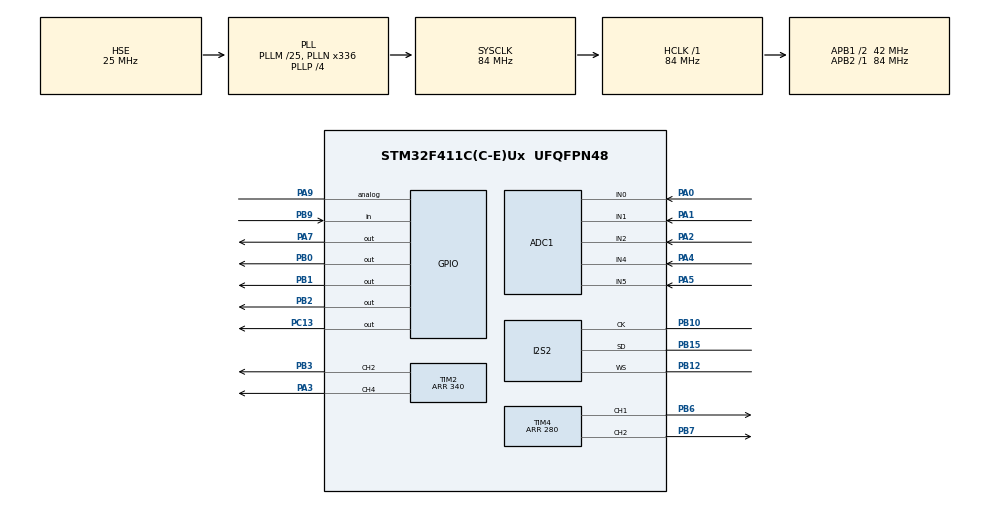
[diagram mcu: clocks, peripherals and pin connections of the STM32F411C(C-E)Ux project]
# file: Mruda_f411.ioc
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ADC1.Channel-0\#ChannelRegularConversion=ADC_CHANNEL_0
ADC1.Channel-1\#ChannelRegularConversion=ADC_CHANNEL_1
ADC1.Channel-2\#ChannelRegularConversion=ADC_CHANNEL_2
ADC1.Channel-3\#ChannelRegularConversion=ADC_CHANNEL_5
ADC1.ContinuousConvMode=ENABLE
ADC1.DMAContinuousRequests=ENABLE
ADC1.InjNumberOfConversion=0
ADC1.NbrOfConversion=4
ADC1.NbrOfConversionFlag=1
ADC1.Rank-0\#ChannelRegularConversion=1
ADC1.Rank-1\#ChannelRegularConversion=2
ADC1.Rank-2\#ChannelRegularConversion=3
ADC1.Rank-3\#ChannelRegularConversion=4
ADC1.SamplingTime-0\#ChannelRegularConversion=ADC_SAMPLETIME_15CYCLES
ADC1.SamplingTime-1\#ChannelRegularConversion=ADC_SAMPLETIME_15CYCLES
ADC1.SamplingTime-2\#ChannelRegularConversion=ADC_SAMPLETIME_15CYCLES
ADC1.SamplingTime-3\#ChannelRegularConversion=ADC_SAMPLETIME_15CYCLES
ADC1.master=1
Dma.ADC1.1.Direction=DMA_PERIPH_TO_MEMORY
Dma.ADC1.1.FIFOMode=DMA_FIFOMODE_DISABLE
Dma.ADC1.1.Instance=DMA2_Stream0
Dma.ADC1.1.MemDataAlignment=DMA_MDATAALIGN_HALFWORD
Dma.ADC1.1.MemInc=DMA_MINC_ENABLE
Dma.ADC1.1.Mode=DMA_CIRCULAR
Dma.ADC1.1.PeriphDataAlignment=DMA_PDATAALIGN_HALFWORD
Dma.ADC1.1.PeriphInc=DMA_PINC_DISABLE
Dma.ADC1.1.Priority=DMA_PRIORITY_LOW
Dma.Request0=SPI2_TX
Dma.Request1=ADC1
Dma.SPI2_TX.0.Direction=DMA_MEMORY_TO_PERIPH
Dma.SPI2_TX.0.FIFOMode=DMA_FIFOMODE_DISABLE
Dma.SPI2_TX.0.Instance=DMA1_Stream4
Dma.SPI2_TX.0.MemDataAlignment=DMA_MDATAALIGN_HALFWORD
Dma.SPI2_TX.0.MemInc=DMA_MINC_ENABLE
Dma.SPI2_TX.0.Mode=DMA_CIRCULAR
Dma.SPI2_TX.0.PeriphDataAlignment=DMA_PDATAALIGN_HALFWORD
Dma.SPI2_TX.0.PeriphInc=DMA_PINC_DISABLE
Dma.SPI2_TX.0.Priority=DMA_PRIORITY_VERY_HIGH
I2S2.AudioFreq=I2S_AUDIOFREQ_32K
I2S2.DataFormat=I2S_DATAFORMAT_16B
I2S2.ErrorAudioFreq=-0.03 %
I2S2.FullDuplexMode=I2S_FULLDUPLEXMODE_DISABLE
I2S2.Instance=SPI$Index
I2S2.RealAudioFreq=31.99 KHz
I2S2.Standard=I2S_STANDARD_MSB
I2S2.VirtualMode=I2S_MODE_MASTER
Mcu.Family=STM32F4
Mcu.Name=STM32F411C(C-E)Ux
Mcu.Package=UFQFPN48
NVIC.DMA1_Stream4_IRQn=true\:0\:0\:false\:false\:true\:false\:true\:true
NVIC.DMA2_Stream0_IRQn=true\:0\:0\:false\:false\:true\:false\:true\:true
NVIC.PriorityGroup=NVIC_PRIORITYGROUP_4
PA0-WKUP.Signal=ADCx_IN0
PA1.Signal=ADCx_IN1
PA2.Signal=ADCx_IN2
PA3.Signal=S_TIM2_CH4
PA4.Signal=ADCx_IN4
PA5.Signal=ADCx_IN5
PA7.Signal=GPIO_Output
PA9.Signal=GPIO_Analog
PB0.Signal=GPIO_Output
PB1.Signal=GPIO_Output
PB10.Mode=Half_Duplex_Master
PB10.Signal=I2S2_CK
PB12.Mode=Half_Duplex_Master
PB12.Signal=I2S2_WS
PB15.Mode=Half_Duplex_Master
PB15.Signal=I2S2_SD
PB2.Signal=GPIO_Output
PB3.Signal=S_TIM2_CH2
PB6.Signal=S_TIM4_CH1
PB7.Signal=S_TIM4_CH2
PB9.GPIO_PuPd=GPIO_PULLUP
PB9.Signal=GPIO_Input
PC13-ANTI_TAMP.Signal=GPIO_Output
PH0\ -\ OSC_IN.Mode=HSE-External-Oscillator
PH0\ -\ OSC_IN.Signal=RCC_OSC_IN
PH1\ -\ OSC_OUT.Mode=HSE-External-Oscillator
PH1\ -\ OSC_OUT.Signal=RCC_OSC_OUT
ProjectManager.HeapSize=0x200
ProjectManager.StackSize=0x400
ProjectManager.TargetToolchain=STM32CubeIDE
RCC.48MHZClocksFreq_Value=48000000
RCC.AHBFreq_Value=84000000
RCC.APB1CLKDivider=RCC_HCLK_DIV2
RCC.APB1Freq_Value=42000000
RCC.APB1TimFreq_Value=84000000
RCC.APB2Freq_Value=84000000
RCC.APB2TimFreq_Value=84000000
RCC.CortexFreq_Value=84000000
RCC.HCLKFreq_Value=84000000
RCC.HSE_VALUE=25000000
RCC.HSI_VALUE=16000000
RCC.LSE_VALUE=32768
RCC.PLLI2SM=20
RCC.PLLI2SN=190
RCC.PLLM=25
RCC.PLLN=336
RCC.PLLP=RCC_PLLP_DIV4
RCC.PLLQ=7
RCC.PLLSourceVirtual=RCC_PLLSOURCE_HSE
RCC.SYSCLKFreq_VALUE=84000000
RCC.SYSCLKSource=RCC_SYSCLKSOURCE_PLLCLK
RCC.VCOOutputFreq_Value=336000000
SH.ADCx_IN0.0=ADC1_IN0,IN0
SH.ADCx_IN1.0=ADC1_IN1,IN1
SH.ADCx_IN2.0=ADC1_IN2,IN2
SH.ADCx_IN4.0=ADC1_IN4,IN4
SH.ADCx_IN5.0=ADC1_IN5,IN5
SH.S_TIM2_CH2.0=TIM2_CH2,PWM Generation2 CH2
SH.S_TIM2_CH4.0=TIM2_CH4,PWM Generation4 CH4
SH.S_TIM4_CH1.0=TIM4_CH1,Output Compare1 CH1
SH.S_TIM4_CH2.0=TIM4_CH2,Output Compare2 CH2
TIM2.Channel-PWM\ Generation2\ CH2=TIM_CHANNEL_2
TIM2.Channel-PWM\ Generation4\ CH4=TIM_CHANNEL_4
TIM2.Period=340
TIM2.Pulse-PWM\ Generation4\ CH4=170
TIM3.AutoReloadPreload=TIM_AUTORELOAD_PRELOAD_ENABLE
TIM3.Prescaler=83
TIM4.AutoReloadPreload=TIM_AUTORELOAD_PRELOAD_ENABLE
TIM4.Channel-Output\ Compare1\ CH1=TIM_CHANNEL_1
TIM4.Channel-Output\ Compare2\ CH2=TIM_CHANNEL_2
TIM4.OCMode_1=TIM_OCMODE_TOGGLE
TIM4.OCMode_2=TIM_OCMODE_TOGGLE
TIM4.OCPolarity_1=TIM_OCPOLARITY_LOW
TIM4.Period=280
TIM4.Pulse-Output\ Compare2\ CH2=15
VP_TIM2_VS_ClockSourceINT.Mode=Internal
VP_TIM3_VS_ClockSourceINT.Mode=Internal
board=custom

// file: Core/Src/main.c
/* USER CODE BEGIN Header */
/**
  ******************************************************************************
  * @file           : main.c
  * @brief          : Main program body
  ******************************************************************************
  * @attention
  *
  * Copyright (c) 2025 STMicroelectronics.
  * All rights reserved.
  *
  * This software is licensed under terms that can be found in the LICENSE file
  * in the root directory of this software component.
  * If no LICENSE file comes with this software, it is provided AS-IS.
  *
  ******************************************************************************
  */
/* USER CODE END Header */
#include "main.h"

/* USER CODE BEGIN Includes */

#include "math.h"
#include "tm1637.h"
#include <stdio.h>

/* USER CODE END Includes */

ADC_HandleTypeDef hadc1;
DMA_HandleTypeDef hdma_adc1;

I2S_HandleTypeDef hi2s2;
DMA_HandleTypeDef hdma_spi2_tx;

TIM_HandleTypeDef htim2;
TIM_HandleTypeDef htim3;
TIM_HandleTypeDef htim4;

/* USER CODE BEGIN PV */

//to do
// implement preset sounds and paramater to preset only <-------5
// apply sustin function user config  <--------3 done
// apply midi  <--------4
// add timber variation as pressure increases   <--------1 cancell
// dedicated and fixed sound/table for tanpura sound    <--------2 done
// volume button:      <-------done
//autoreack :    <----- done (remove function key weird noise bug)

//modification made
// only one sample for measure touch poition, eliminated strange sound while
// quickly releasing any key
// scanning stra

//parameters
int phse = 15;
float p_volume= 0.00005;
float vol_knob=0;
int phase_ticks=0;

float p_expo= 1.35;
float p_expo_val[5]={1.1,1.25,1.34,1.55,1.7};
int8_t p_expo_ind=3;
uint8_t p_transpose=0;
float p_tune=0;

uint8_t fn_ind[3];
float fn_touch[3];
float fn_max = 0;
uint8_t fn_index;

int ADC_Offset = 199;
int16_t d0,d1,d2;

#define SAMPLE_RATE 32000  // Sample rate (Hz)
#define TWOPI       360.0f
#define BUFFER_SIZE 512

#define S0_pin GPIO_PIN_2
#define S0_port GPIOB

#define S1_pin GPIO_PIN_1
#define S1_port GPIOB

#define S2_pin GPIO_PIN_0
#define S2_port GPIOB

#define S3_pin GPIO_PIN_7
#define S3_port GPIOA

#define poly_phony 3

#define phase_v (TWOPI/SAMPLE_RATE)
#define Sine_table_size 1800 // +1 required

#define POS_THRESH   1.90f
#define AMP_ON       410.0f
#define AMP_OFF      300.0f
#define SMOOTH_ALPHA 0.9f   // 0 = no update, 1 = no smoothing

float angle_mult = Sine_table_size / 360.0f;

// Define 2 rows, each with 20 values
const float preset[2][20] = {
    {0.15f, 0.15f, 0.1f, 0.1f, 0.07f, 0.03f, 0.015f, 0.02f, 0.005f, 0.01f, 0, 0.005f, 0, 0.005f, 0, 0.005f, 0, 0, 0, 0}, // Index 0
    {0.50f, 0.00f, 0.0f, 0.0f, 0.00f, 0.00f, 0.000f, 0.00f, 0.000f, 0.00f, 0, 0.000f, 0, 0.000f, 0, 0.000f, 0, 0, 0, 0}  // Index 1
};

int8_t  mux_dir = 1;
//const float preset[1][20]={
//{1,0.0,0.0,0.0,0.0,  0.0,0.0,0.0,0.00,  0.0,0,0.00,0,0.00,  0,0.00,0,0,0,0} // default sound
//};

uint8_t preset_sel=1;

const float drone_vol_lookup[11] = {
    0.0000, // x = 0
    0.01, // x = 1
    0.033, // x = 2
    0.062, // x = 3
    0.1, // x = 4
    0.14, // x = 5
    0.181, // x = 6
    0.23, // x = 7
    0.28, // x = 8
    0.33, // x = 9
    0.6  // x = 10
};

float f1 =138.0 ;
float vol[5], vol_old[5], vol_smooth[5], vol_smooth_old[5];
float PHASE_INC[5]; // phase ince value

//base wave generation
float sine_data[Sine_table_size+1];
float sine_data_tanpura[Sine_table_size+1];
float amp[25];
float phase[15]={0,10,50,122,32, 98,211,72,40,265, 9,213,311,144,80};

int function_debug = 0;

float p[5]; // for phase value
uint32_t t1,t2,t3,dt;

int16_t buffer0[BUFFER_SIZE];
int8_t data_ready_flag=0;

uint16_t adc_dma_buffer[16];
float adc_val[20];

float touch[50],touch_cal[50],touch_p[50];
float touch_p0[50], touch_p1[50], touch_p2[50];

//drone related
uint16_t drone_t=0;
float drone_sa=0;
float drone_pa=0;
float drone_vol=0.1;
int8_t drone_vol_level=5;
float drone_vol_raw=0.0;
float drone_sa_key=27;
float drone_pa_key=22;

float drone_sa_freq=0;
float drone_pa_freq=0;

float transpose=0;
float f_tune=0;
float octave=0;

uint8_t drone_flag=0;
int8_t snap_flag=0;

uint8_t function_flag;
uint16_t function_t;
//temp variable

int8_t touch_flag[poly_phony], touch_flag_old[poly_phony], release_flag[poly_phony], mux_sel;
int8_t mux_inc=1;

float touch_position[poly_phony],touch_position_old[poly_phony];
float touch_amp[poly_phony],touch_amp_old[poly_phony];

float key[poly_phony], key_refined[poly_phony],key_snap[poly_phony],key_snap_pos[poly_phony];
float key_freq[poly_phony], key_diff[poly_phony], key_play[poly_phony],key_play_old[poly_phony], key_play_freq[poly_phony];
float key_trans[poly_phony];
float key_out[poly_phony];
float env[poly_phony];

uint8_t peak[3];
float peak_amp[3];
float peak_pos[3];
float peak_pos_old[3];
float peak_pos_track[3];
float peak_amp_track[3];

uint32_t seed = 1234;
float rand_f=0;

//sound table gen
float ST_expo=0;
float ST_expo_val[10]={0,-0.2,-0.6,-0.8,-1,-1.2,-1.4,-1.6,-1.8,-2};
uint8_t ST_exp_ind=0;

float OE_dist=1;
float OE_dist_val[10]={4,3,2.5,2,1.5,1,0.66,0.5,0.2,0.33};
uint8_t OE_dist_ind=5;

float octave_mix=0;
float octave_mix_val[10]={0,15,30,45,60,75,90,105,120,135};
uint8_t octave_mix_ind=0;

int16_t reverb_buf[4001];
float reverb_weight[8]={0.2,0.18,0.15,0.13,0.11,0.09,0.07,0.05};
int32_t reverb_ind=0;

float reverb_val[10]={0,0.03,0.1,0.171,0.273,0.39,0.523,0.669,0.83,0.98};
float reverb_val1,reverb_val2;
int16_t reverb_user_ind=5;

float snap_flag_val[6]={0,0.005,0.01,0.02,0.05, 0.1};
float snap_flag_multiplier;

// --- All-pass filter setup ---
#define AP1_DELAY 117
#define AP2_DELAY 73
#define AP_GAIN   0.4f

int16_t ap_buf1[AP1_DELAY] = {0};
int16_t ap_buf2[AP2_DELAY] = {0};
int ap_idx1 = 0, ap_idx2 = 0;
float ap_last1 = 0, ap_last2 = 0;

int8_t midi_flag=0;
int16_t midi_snap, midi_pres, midi_key_status;
float midi_bend;
uint8_t midi1_vol;

//autitune
float smoothed_play[3] = {0};
float key_error[3];

long main_time, main_time_COUNTER;

float t_samp_old;
//temp
float t_max=0;
volatile uint32_t sysclk_freq = 0;
volatile uint32_t hclk_freq = 0;
volatile uint32_t pclk1_freq = 0;
volatile uint32_t pclk2_freq = 0;
volatile uint32_t i2s_clock_freq = 0;
float temp_amp[25];

int16_t max_amp, max_derivative, now_derivative , old_amp, max_d_ind;
uint32_t reset_counter = 0;
const uint32_t RESET_INTERVAL = 100000;
/* USER CODE END PV */

void SystemClock_Config(void);
static void MX_GPIO_Init(void);
static void MX_DMA_Init(void);
static void MX_ADC1_Init(void);
static void MX_I2S2_Init(void);
static void MX_TIM2_Init(void);
static void MX_TIM3_Init(void);
static void MX_TIM4_Init(void);
/* USER CODE BEGIN PFP */

void set_mux(uint8_t ch) {
    if (ch > 15) return;

    HAL_GPIO_WritePin(S0_port, S0_pin, (ch >> 0) & 0x01);
    HAL_GPIO_WritePin(S1_port, S1_pin, (ch >> 1) & 0x01);
    HAL_GPIO_WritePin(S2_port, S2_pin, (ch >> 2) & 0x01);
    HAL_GPIO_WritePin(S3_port, S3_pin, (ch >> 3) & 0x01);
}

float rand_float(void) {
	seed = 1664525 * seed + 1013904223;

	    // Map 31-bit int to float in [-1.0, 1.0]
	    int32_t signed_val = (int32_t)(seed >> 1); // 31-bit signed int
	    // Multiply by precomputed constant
	    return signed_val * 0.00000000093132257f; // ≈ 1 / (2^30 - 1)
}

int rand_int_16(void) {
    seed = 1664525 * seed + 1013904223;

    // Take lower 5 bits (0 to 31)
    int val = (int)(seed & 0x1F);  // 0 to 31
    return val - 16;                // -16 to 15
}

//-------------------------MIDI functions-----------------------------

void send_usb_midi_packet(uint8_t cin, uint8_t status, uint8_t data1, uint8_t data2) {
    uint8_t packet[4];
    packet[0] = (0x0 << 4) | (cin & 0x0F);  // Cable #0 + CIN
    packet[1] = status;
    packet[2] = data1;
    packet[3] = data2;
    //USBD_HID_SendReport(&hUsbDeviceFS, packet, 4);
}

void midi_note_on(uint8_t note, uint8_t velocity) {
    send_usb_midi_packet(0x9, 0x90, note, velocity);  // CIN 0x9 = Note On
}

void midi_note_off(uint8_t note, uint8_t velocity) {
    send_usb_midi_packet(0x8, 0x80, note, velocity);  // CIN 0x8 = Note Off
}

void midi_pitch_bend(float semitones) {
    if (semitones > 12.0f) semitones = 12.0f;
    if (semitones < -12.0f) semitones = -12.0f;

    int32_t bend = 8192 + (int32_t)((semitones / 12.0f) * 8192.0f);
    if (bend < 0) bend = 0;
    if (bend > 16383) bend = 16383;

    uint8_t lsb = bend & 0x7F;
    uint8_t msb = (bend >> 7) & 0x7F;

    send_usb_midi_packet(0xE, 0xE0, lsb, msb);  // CIN 0xE = Pitch Bend
}

void midi_pressure(uint8_t note, uint8_t pressure) {
    send_usb_midi_packet(0xA, 0xA0, note, pressure);  // CIN 0xA = Poly Pressure
}
//---------------------------------------------------------------

void set_freq(){

	for(uint8_t i=0;i<3;i++){
		if(touch_flag[i]==1 && snap_flag>0){
			key[i]=peak_pos[i]+21-0.5; //sensing plate not on senter so 0.5
			fn_ind[i] = round(key[i]);
			key_trans[i]=key[i]+f_tune+transpose+octave;

			if(touch_flag_old[i]==0){
				key_snap[i]=round(key[i]); // only for functions
				smoothed_play[i]=0;
				key_error[i]=0;
			}

			//auto correct
			//if(smoothed_play[i]>0.5){smoothed_play[i]=0.5;}
			key_play[i]=key_trans[i]+smoothed_play[i];
			key_error[i]=key_play[i]-round(key_trans[i]);
			smoothed_play[i]-=snap_flag_multiplier*key_error[i];
			//if(key_error[i]<0.01){key_error[i]=0;}

			key_play[i]=0.9*key_play[i]+0.1*key_play_old[i];
			key_play_old[i]=key_play[i];

			key_play[i] = 440.0f * powf(1.0594630f, (key_play[i] - 48));
			PHASE_INC[i] =phase_v * key_play[i];
		}

		if(touch_flag[i]==1 && snap_flag==0){
					key_snap[i]=round(key[i]); // for function detect
					fn_ind[i] = key_snap[i];
					key[i]=peak_pos[i]+21-0.5; //sensing plate not on senter so 0.5

					key_play[i]=key[i]+f_tune+transpose+octave;
					//key_play[i]=key_play[i]*(1+0.001*rand_float());

					key_out[i]=key_play[i];
					key_play[i]=0.98*key_play[i]+0.02*key_play_old[i];

					key_play_old[i]=key_play[i];

					key_play[i] = 440.0f * powf(1.0594630f, (key_play[i] - 48));
					PHASE_INC[i] =phase_v * key_play[i];
				}
	}

//	if(touch_flag[2]==1 && touch_flag_old[2]==0  && midi_key_status==0){
//		midi_snap=21+round(key_out[2]);
//	}
//	if(touch_flag[2]==1 && midi_key_status==1){
//		midi_bend=21+key_out[2]-(float)midi_snap;
//	}
//
//	if(midi_flag==1){
//		float vol = touch_amp[2]*500.0;
//		if (vol > 127) {vol = 127;}
//		midi1_vol = (uint8_t)vol;
//
//		if(touch_flag[2]==1 && touch_flag_old[2]==0 && midi_key_status==0){
//			uint16_t vol= touch_amp[2]*500;
//			midi_note_on(midi_snap,vol);
//			midi_key_status=1;
//		}
//
//		if(touch_flag[2]==0 && touch_flag_old[2]==1 && midi_key_status==1){
//			uint16_t vol= touch_amp[2]*500;
//			midi_note_off(midi_snap, vol);
//			midi_key_status=0;
//		}
//
//		if(touch_flag[2]==1){
//			midi_pitch_bend(midi_bend);
//			midi_pressure(midi_snap, vol);
//		}
//	}
}

/* USER CODE END PFP */

/* USER CODE BEGIN 0 */

//Fast sine calculation function

float sine_slow(float angle){
	angle *= 0.0174533f; //deg to rad
	return (32000.0f *sinf(angle));
}

float sine_1 (float angle)
  {
    int angle_int;
    angle=angle_mult*angle;
    angle_int=angle;
    return (sine_data[angle_int]);
  }

float sine(float angle)
{
    // assuming sine_data[] has 720 points for 0–360° (0.5° step)
    // i.e., one table entry per 0.5°
     angle *= angle_mult;  // convert degrees → 0.5° index scale

    int angle_int = (int)angle;
    float frac = angle - angle_int;          // fractional part
    int next_index = angle_int + 1;

    if (next_index >= Sine_table_size)
        next_index = 0;

    // linear interpolation
    float y0 = sine_data[angle_int];
    float y1 = sine_data[next_index];
    return y0 + frac * (y1 - y0);
}

float sine_t (float angle)
  {
    angle *= angle_mult;  // convert degrees → 0.5° index scale

    int angle_int = (int)angle;
    float frac = angle - angle_int;          // fractional part
    int next_index = angle_int + 1;

    if (next_index >= Sine_table_size)
        next_index = 0;

    // linear interpolation
    float y0 = sine_data_tanpura[angle_int];
    float y1 = sine_data_tanpura[next_index];
    return y0 + frac * (y1 - y0);
  }

//below two function provides arduino micros() equivalent
void DWT_Delay_Init(void) {
    CoreDebug->DEMCR |= CoreDebug_DEMCR_TRCENA_Msk;  // Enable DWT
    DWT->CYCCNT = 0;  // Reset counter
    DWT->CTRL |= DWT_CTRL_CYCCNTENA_Msk;  // Enable cycle counter
}

uint32_t micros(void) {
    uint32_t cycles = DWT->CYCCNT;
    return (uint32_t)((uint64_t)cycles * 1000000ULL / SystemCoreClock);
}

//to fill required buffer in ping pong way
void fill_buffer0(int16_t *buff, int16_t size){

    t1=micros();
    for (int16_t i=0; i < size; i+=2) {

    	for(uint8_t j=0;j<3;j++){
    		vol[j]=0.1f*vol[j]+0.9f*vol_old[j];
    		vol_old[j]=vol[j];
//

    		float alpha = (vol[j] > vol_smooth[j]) ? 0.02f : 0.001f;
    		vol_smooth[j] += alpha * (vol[j] - vol_smooth[j]);
    		if(vol_smooth[j] < 0.0001f)
    		    vol_smooth[j] = 0.0f;

    	}

    	vol[3]=0.005f*vol[3]+0.995f*vol_old[3];
    	vol_old[3]=vol[3];
		vol_smooth[3]=0.0001f*vol[3]+0.9999f*vol_smooth_old[3];
		vol_smooth_old[3]=vol_smooth[3];

    	vol[4]=0.005f*vol[4]+0.995f*vol_old[4];
    	vol_old[4]=vol[4];
		vol_smooth[4]=0.0001f*vol[4]+0.9999f*vol_smooth_old[4];
		vol_smooth_old[4]=vol_smooth[4];

	   float t_samp_rev=   vol_smooth[0]*sine(p[0])+
			   	   	   	   vol_smooth[1]*sine(p[1])+
						   vol_smooth[2]*sine(p[2]);

	   float t_samp=	t_samp_rev+
						   vol_smooth[3]*sine_t(p[3])+
						   vol_smooth[4]*sine_t(p[4]);

        // Increment and wrap phase
        p[0] += PHASE_INC[0];
			if (p[0] >= TWOPI)
				p[0] -= TWOPI;

        p[1] += PHASE_INC[1];
            if (p[1] >= TWOPI)
            	p[1] -= TWOPI;

        p[2] += PHASE_INC[2];
            if (p[2] >= TWOPI)
            	p[2] -= TWOPI;

        p[3] += PHASE_INC[3];
            if (p[3] >= TWOPI)
                p[3] -= TWOPI;

        p[4] += PHASE_INC[4];
            if (p[4] >= TWOPI)
                p[4] -= TWOPI;

            //rand_f=rand_float();
        //buff[i] = (int16_t)t_samp;

            reverb_buf[reverb_ind] = (int16_t)t_samp_rev;

            //revern using prime samples to avoid ringing
            int16_t rev_delay_chan[8]={503,1079,1499,2111,2503,3067,3547,3989};
            int16_t rev_delay_ind=0;
            float rev_sample=0;

            for(int k=0;k<8;k++){
            	rev_delay_ind= reverb_ind-rev_delay_chan[k];
            	if(rev_delay_ind<0){rev_delay_ind=rev_delay_ind+4000;}
            	rev_sample+=(float)reverb_buf[rev_delay_ind];
            }
            rev_sample=rev_sample*0.125f;

            reverb_ind++;
            if(reverb_ind>=4000){reverb_ind=0;}

            float input_sample=rev_sample;
//            // --- First all-pass filter ---
            float ap_delayed1 = (float)ap_buf1[ap_idx1];
            float ap_output1 = -AP_GAIN * input_sample + ap_delayed1 + AP_GAIN * ap_last1;
            ap_buf1[ap_idx1] = (int16_t)input_sample;
            ap_idx1 = (ap_idx1 + 1) % AP1_DELAY;
            ap_last1 = ap_output1;

            // --- Second all-pass filter ---
//            float ap_delayed2 = (float)ap_buf2[ap_idx2];
//            float ap_output2 = -AP_GAIN * ap_output1 + ap_delayed2 + AP_GAIN * ap_last2;
//            ap_buf2[ap_idx2] = (int16_t)ap_output1;
//            ap_idx2 = (ap_idx2 + 1) % AP2_DELAY;
//            ap_last2 = ap_output2;

            // --- Store diffused signal in reverb buffer ---

           // reverb_buf[reverb_ind]= (int16_t)t_samp_rev;

            rev_sample=ap_output1;

            t_samp=reverb_val2* t_samp+reverb_val1*rev_sample;

            if(t_samp>32000) t_samp=32000;
            else if(t_samp<-32000) t_samp=-32000;

            buff[i] = (int16_t)t_samp;
            buff[i+1] = buff[i];

            // only temp to checkkk clip issyes
            int16_t current_sample = buff[i];

            // 1. Track Absolute Max Amplitude
            int16_t abs_sample = (current_sample < 0) ? -current_sample : current_sample;
            if (abs_sample > max_amp) max_amp = abs_sample;

            // 2. Track Max Derivative (Rate of Change)
            int16_t now_derivative = current_sample - old_amp;
            int16_t abs_derivative = (now_derivative < 0) ? -now_derivative : now_derivative;
            if (abs_derivative > max_derivative) {
            	max_derivative = abs_derivative;
            	max_d_ind = (int16_t) i;
            }

            old_amp = current_sample;
            reset_counter++;
                if (reset_counter >= RESET_INTERVAL) {
                    // The actual reset
                    max_amp = 0;
                    max_derivative = 0;
                    reset_counter = 0;
                    max_d_ind=0;
                }

    }
    t2=micros();
}

void HAL_I2S_TxHalfCpltCallback(I2S_HandleTypeDef *hi2s) {

    fill_buffer0(buffer0, BUFFER_SIZE / 2);  // Fill first half
}

void HAL_I2S_TxCpltCallback(I2S_HandleTypeDef *hi2s) {
    fill_buffer0(buffer0 + BUFFER_SIZE/2, BUFFER_SIZE / 2);  // Fill second half
}

void HAL_ADC_ConvCpltCallback(ADC_HandleTypeDef* hadc){

	for(int i=0;i<16;i++){
	adc_val[i]=(float)adc_dma_buffer[i];
	}
}

void amp_setup(int preset_sel){

	float total_amp=0;

	for(int k=0;k<20;k++){
		amp[k+1]=preset[preset_sel][k];

	}

	//expo evelope
	for(int i=0;i<20;i++){
		amp[i+1]=amp[i+1]*powf(i+1,ST_expo);
	}

	//OE_dist=1.1;
	for(int i=1;i<11;i++){
	    amp[2*i] = amp[2*i] * OE_dist;     // Even harmonic gets boosted
	    amp[2*i-1]  = amp[2*i-1] / OE_dist;     // Odd harmonic gets reduced
	}

	//octave_mix=50;
	for(int i=0;i<19;i++){
		amp[i+1]=amp[i+1]+(octave_mix/100)*amp[i+2];
		amp[i+1]=amp[i+1]*(1.0f + cosf( 3.141592f* (i+1) / 20));
	}

	// normalising amplitudes
	for(int i=0;i<20;i++){
		total_amp=total_amp+amp[i+1];
	}

	for(int i=0;i<20;i++){
	    		amp[i+1]=amp[i+1]/total_amp;
	    	}

}

// Assumes sin_table is allocated as sin_table[1801]
void Creat_sine_table(float* sin_table, uint8_t preset_type){
	//generate a base waveform that is combination of its harmonics

	//creating table
    for(int i=0;i<Sine_table_size;i++)
      {	float temp1;
      float step= 6.28318530718f/(float)(Sine_table_size);

      temp1=0;
      for(int j=0;j<15;j++){
    	temp1 +=  amp[j]*sinf((float)j*(float)i*step+phase[j]);
      }

      //temp1=sin(i*0.1*3.14159265/180);
      //sine_data[i]=temp1*32767.0f;
    	sin_table[i]=(temp1 * 32000.0f);

      //set_freq();
      };
    //sin_table[Sine_table_size+1]=sin_table[0];
}

float parabolic_fit(uint8_t index){

	float y0 = touch_p[index - 1];
	float y1 = touch_p[index];
	float y2 = touch_p[index + 1];

	    float denominator = 2.0f * (y0 - 2.0f * y1 + y2);
	    float delta = (y0 - y2) / denominator;
	    delta=delta+(float)index;

	    return delta;
}

float linear_fit(uint8_t index) {
    float y0 = (float)touch_p[index - 1];
    float y1 = (float)touch_p[index];
    float y2 = (float)touch_p[index + 1];

    float total_amp = y0 + y1 + y2;

    if (total_amp < 10.0f) {
        return (float)index;
    }

    float delta = ((y2 - y0) / total_amp);
    return (float)index + delta;
}

void touch_estimate()
{

	uint8_t temp_indice=0;

	for(uint8_t i=1;i<47;i++){
		if(touch_p[i-1]<touch_p[i] && touch_p[i+1]<touch_p[i])
		{
			float current_sum = touch_p[i]+touch_p[i+1]+touch_p[i-1];
			int8_t already_active = 0;

			for (uint8_t k = 0; k < 3; k++) {
				if (touch_flag[k] == 1 && fabsf(peak_pos_old[k] - (float)i) < 4.5f) {
					already_active = 1;
					break;
				}
			}

			float threshold = already_active ? 150 : 400;
			if (current_sum > threshold) {
				peak[temp_indice]=i;
				peak_amp[temp_indice]=touch_p[i]+touch_p[i-1]+touch_p[i+1];
				peak_pos[temp_indice]=linear_fit(i);
				temp_indice++;
				if(temp_indice==3){break;}
			}
		}
	}

//
//	float midi_amp1, midi_pos1;
//	if(midi_flag==1){
//		midi_amp1=peak_amp[0];
//		midi_pos1=peak_pos[0];
//		peak_amp[1]=0;
//		peak_amp[2]=0;
//	}

	for (uint8_t k = temp_indice; k < 3; k++) {
	    peak_pos[k] = 0;
	    peak_amp[k] = 0;
	}

	//track

uint8_t used_new[3] = {0};
uint8_t used_old[3] = {0};
for (uint8_t i = 0; i < 3; i++) {
    for (uint8_t j = 0; j < 3; j++) {
        float diff = fabsf(peak_pos_old[i] - peak_pos[j]);
        if (diff < 1.5f && !used_old[i] && !used_new[j]) {
            peak_pos_track[i] = peak_pos[j];
            peak_amp_track[i] = peak_amp[j];
            used_old[i] = 1;
            used_new[j] = 1;
            break;
        }
    }
}

// Second pass: Fill in unmatched old indices with any unused new values
for (uint8_t i = 0; i < 3; i++) {
    if (!used_old[i]) {
        for (uint8_t j = 0; j < 3; j++) {
            if (!used_new[j]) {
                peak_pos_track[i] = peak_pos[j];
                peak_amp_track[i] = peak_amp[j];
                used_old[i] = 1;
                used_new[j] = 1;
                break;
            }
        }
    }
}

// Update peak_pos and peak_pos_old for next frame
for (uint8_t i = 0; i < 3; i++) {
    peak_pos[i] = peak_pos_track[i];
    peak_amp[i] = peak_amp_track[i];
    peak_pos_old[i] = peak_pos[i];

    touch_flag_old[i]=touch_flag[i];
    if(peak_pos[i]!=0){touch_flag[i]=1;}
    else {touch_flag[i]=0; peak_pos_old[i] = -10.0f;}
}

// track ends

//	if(midi_flag==1){
//		peak_amp[2]=midi_amp1;
//		peak_pos[2]=midi_pos1;
//		peak_amp[1]=0;
//		peak_amp[0]=0;
//		peak_pos[1]=0;
//		peak_pos[0]=0;
//	}

	//touch position filer
	// amplitude fikter

	for(int i=0;i<3;i++){

		peak_pos[i]=0.5*peak_pos[i];

		//touch amplitude
		touch_amp[i]=peak_amp[i];
		fn_touch[i] = peak_amp[i];
		fn_ind[i] = peak[i];
		    touch_amp[i]=touch_amp[i]*p_volume;
		    if(touch_amp[i]<0){touch_amp[i]=0;}
		    touch_amp[i]=powf(touch_amp[i],p_expo);

		    //filter
		    touch_amp[i]=0.9*touch_amp[i]+0.1*touch_amp_old[i];
		    vol[i]=touch_amp[i];

		    touch_amp_old[i]=touch_amp[i];

	}

	HAL_GPIO_WritePin(GPIOC, GPIO_PIN_13, !(touch_flag[0] || touch_flag[1] || touch_flag[2]));
}

void function_set(){

	//Drone on Off
	static uint8_t drone_latched = 0;
	if(fn_index==43 && fn_max > 1500)
	{
		if (!drone_latched) {
			drone_flag = !drone_flag;
			drone_latched = 1;
			if(drone_flag==1){TM1637_SetColon(1);TM1637_DisplayString("drON");}
			if(drone_flag==0){TM1637_SetColon(1);TM1637_DisplayString("drOF");}
			function_t = 100;
		}
	}
	else {drone_latched = 0;}

	//drone volume up
	static uint8_t drone_volp = 0;
	if(fn_index==42 && fn_max > 1500)
	{
		if (!drone_volp) {

			drone_vol_level++;
			if(drone_vol_level>10){drone_vol_level=10;}
			drone_vol_raw=drone_vol_lookup[drone_vol_level];
			drone_vol=drone_vol_raw;

			char drone_buffer[8];  // 4 chars + null terminator
			snprintf(drone_buffer, sizeof(drone_buffer), "VO%d", drone_vol_level);
			TM1637_SetColon(1);
			TM1637_DisplayString(drone_buffer);

			function_t = 100;
			drone_volp = 1;
		}
	}
	else {drone_volp = 0;}

	// drone vol down
	static uint8_t drone_voln = 0;
	if(fn_index==41 && fn_max > 1500)
	{
		if (!drone_voln) {

			drone_vol_level--;
			if(drone_vol_level<0){drone_vol_level=0;}
			drone_vol_raw=drone_vol_lookup[drone_vol_level];
			drone_vol=drone_vol_raw;

			char drone_buffer[8];  // 4 chars + null terminator
			snprintf(drone_buffer, sizeof(drone_buffer), "VO%d", drone_vol_level);
			TM1637_SetColon(1);
			TM1637_DisplayString(drone_buffer);

			drone_voln = 1;
		}
	}
	else {drone_voln = 0;}

	//drone scale up
	static uint8_t drone_vscalp = 0;
	if(fn_index==40 && fn_max > 1500)
	{
		if (!drone_vscalp) {

			drone_sa_key=1+drone_sa_key;if(drone_sa_key-27>8){drone_sa_key=8+27;}
			drone_pa_key=1+drone_pa_key;if(drone_pa_key-22>8){drone_pa_key=8+22;}

			drone_pa_freq=440.0f * powf(1.0594630f, (drone_sa_key - 48));
			drone_sa_freq=440.0f * powf(1.0594630f, (drone_pa_key - 48));

			PHASE_INC[3] =phase_v * drone_sa_freq;
		  	PHASE_INC[4] =phase_v * drone_pa_freq;

			int8_t fn_print=(int)drone_sa_key;
			char drone_buffer[8];  // 4 chars + null terminator
			snprintf(drone_buffer, sizeof(drone_buffer), "SC%d", fn_print-27);
			TM1637_SetColon(1);
			TM1637_DisplayString(drone_buffer);

			drone_vscalp = 1;
		}
	}
	else {drone_vscalp = 0;}

	// drone scale down
	static uint8_t drone_vscaln = 0;
	if(fn_index==39 && fn_max > 1500)
	{
		if (!drone_vscaln) {

			drone_sa_key=drone_sa_key-1;if(drone_sa_key-27<-8){drone_sa_key=-8+27;}
			drone_pa_key=drone_pa_key-1;if(drone_pa_key-22<-8){drone_pa_key=-8+22;}

			drone_pa_freq=440.0f * powf(1.0594630f, (drone_sa_key - 48));
			drone_sa_freq=440.0f * powf(1.0594630f, (drone_pa_key - 48));

			PHASE_INC[3] =phase_v * drone_sa_freq;
			PHASE_INC[4] =phase_v * drone_pa_freq;

			int8_t fn_print=(int)drone_sa_key;
			char drone_buffer[8];  // 4 chars + null terminator
			snprintf(drone_buffer, sizeof(drone_buffer), "SC%d", fn_print-27);
			TM1637_SetColon(1);
			TM1637_DisplayString(drone_buffer);

			drone_vscaln = 1;
		}
	}
	else {drone_vscaln = 0;}

	// idewntify midi mode,
	// deactives all calculation related to sound synth,
	// three modes audio, MIDI standrd, MIDI MPE
	static uint8_t midi_s = 0;
	if(fn_index==21 && fn_max > 1500)
	{
		if (!midi_s) {
			midi_flag++;
			if(midi_flag==3){midi_flag=0;}

			TM1637_SetColon(0);
			if(midi_flag==0) {
				HAL_I2S_DMAResume(&hi2s2);
				TM1637_DisplayString("AUd");
			}
			else if(midi_flag==1) {
				HAL_I2S_DMAPause(&hi2s2);
				TM1637_DisplayString("CH01");
			}

			else if(midi_flag==2) {
				TM1637_DisplayString("CH03");
			}
			midi_s = 1;
		}
	}
	else {midi_s = 0;}

	//transpose up
	static uint8_t transpose_u = 0;
	if(fn_index==23 && fn_max > 1500)
	{
		if (!transpose_u) {

			transpose=transpose+1;
			if(transpose>11){transpose=11;}

			int8_t fn_print=(int)transpose;
			char drone_buffer[8];  // 4 chars + null terminator
			snprintf(drone_buffer, sizeof(drone_buffer), "SC%d", fn_print);
			TM1637_SetColon(1);
			TM1637_DisplayString(drone_buffer);

			transpose_u = 1;
		}
	}
	else {transpose_u = 0;}

	//transpose down
	static uint8_t transpose_d = 0;
	if(fn_index==22 && fn_max > 1500)
	{
		if (!transpose_d) {

			transpose=transpose-1;
			if(transpose<-11){transpose=-11;}

			int8_t fn_print=(int)transpose;
			char drone_buffer[8];  // 4 chars + null terminator
			snprintf(drone_buffer, sizeof(drone_buffer), "SC%d", fn_print);
			TM1637_SetColon(1);
			TM1637_DisplayString(drone_buffer);

			transpose_d = 1;
		}
	}
	else {transpose_d = 0;}

	//octave up
	static uint8_t octave_u = 0;
	if(fn_index==25 && fn_max > 1500)
	{
		if (!octave_u) {

			octave=octave+12;
			if(octave>49){octave=48;}

			int8_t fn_print=(int)(octave/12);
			char drone_buffer[8];  // 4 chars + null terminator
			snprintf(drone_buffer, sizeof(drone_buffer), "OC%d", fn_print);
			TM1637_SetColon(1);
			TM1637_DisplayString(drone_buffer);

			octave_u = 1;
		}
	}
	else {octave_u = 0;}

	//octave down
	static uint8_t octave_d = 0;
	if(fn_index==24 && fn_max > 1500)
	{
		if (!octave_d) {

			octave=octave-12;
			if(octave<-25){octave=-25;}

			int8_t fn_print=(int)(octave/12);
			char drone_buffer[8];  // 4 chars + null terminator
			snprintf(drone_buffer, sizeof(drone_buffer), "OC%d", fn_print);
			TM1637_SetColon(1);
			TM1637_DisplayString(drone_buffer);

			octave_d = 1;
		}
	}
	else {octave_d = 0;}

	//tune up
	static uint8_t tune_u = 0;
	if(fn_index==27 && fn_max > 1500)
	{
		if (!tune_u) {

			f_tune=f_tune+0.01;
			drone_sa_key=drone_sa_key+f_tune;
			drone_pa_key=drone_pa_key+f_tune;
			if(f_tune>0.5){f_tune=0.5;}

			int8_t fn_print=(int)(f_tune*100.0f);
			char drone_buffer[8];  // 4 chars + null terminator
			snprintf(drone_buffer, sizeof(drone_buffer), "t%d", fn_print);
			TM1637_SetColon(0);
			TM1637_DisplayString(drone_buffer);

			tune_u = 1;
		}
	}
	else {tune_u = 0;}

	//tune down
	static uint8_t tune_d = 0;
	if(fn_index==26 && fn_max > 1500)
	{
		if (!tune_d) {

			f_tune=f_tune-0.01;
			drone_sa_key=drone_sa_key+f_tune;
			drone_pa_key=drone_pa_key+f_tune;
			if(f_tune<-0.5){f_tune=-0.5;}

			int8_t fn_print=(int)(f_tune*100.0f);
			char drone_buffer[8];  // 4 chars + null terminator
			snprintf(drone_buffer, sizeof(drone_buffer), "t%d", fn_print);
			TM1637_SetColon(0);
			TM1637_DisplayString(drone_buffer);

			tune_d = 1;
		}
	}
	else {tune_d = 0;}

	//sens down
	static uint8_t sens_d = 0;
	if(fn_index==29 && fn_max > 1500)
	{
		if (!sens_d) {

			p_expo_ind--;
			if(p_expo_ind<0){p_expo_ind=0;}
			p_expo=p_expo_val[p_expo_ind];

			int8_t fn_print=(int)(p_expo_ind);
			char drone_buffer[8];  // 4 chars + null terminator
			snprintf(drone_buffer, sizeof(drone_buffer), "SE%d", fn_print);
			TM1637_SetColon(1);
			TM1637_DisplayString(drone_buffer);

			sens_d = 1;
		}
	}
	else {sens_d = 0;}

	//sens up
	static uint8_t sens_u = 0;
	if(fn_index==30 && fn_max > 1500)
	{
		if (!sens_u) {

			p_expo_ind++;
			if(p_expo_ind>4){p_expo_ind=5;}
			p_expo=p_expo_val[p_expo_ind];

			int8_t fn_print=(int)(p_expo_ind);
			char drone_buffer[8];  // 4 chars + null terminator
			snprintf(drone_buffer, sizeof(drone_buffer), "SE%d", fn_print);
			TM1637_SetColon(1);
			TM1637_DisplayString(drone_buffer);

			sens_u = 1;
		}
	}
	else {sens_u = 0;}

	//sound p1 down
		static uint8_t sound_p1_d = 0;
		if(fn_index==32 && fn_max > 1500)
		{
			if (!sound_p1_d) {

				ST_exp_ind--;
				if(ST_exp_ind<0){ST_exp_ind=0;}
				ST_expo=ST_expo_val[ST_exp_ind];
				amp_setup(0);
				Creat_sine_table(sine_data,0);

				int8_t fn_print=(int)(ST_exp_ind);
				char drone_buffer[8];  // 4 chars + null terminator
				snprintf(drone_buffer, sizeof(drone_buffer), "P1%d", fn_print);
				TM1637_SetColon(1);
				TM1637_DisplayString(drone_buffer);

				sound_p1_d = 1;
			}
		}
		else {sound_p1_d = 0;}

	//sound p1 up
		static uint8_t sound_p1_u = 0;
		if(fn_index==33 && fn_max > 1500)
		{
			if (!sound_p1_u) {

				ST_exp_ind++;
				if(ST_exp_ind>10){ST_exp_ind=10;}
				ST_expo=ST_expo_val[ST_exp_ind];
				amp_setup(0);
				Creat_sine_table(sine_data,0);

				int8_t fn_print=(int)(ST_exp_ind);
				char drone_buffer[8];  // 4 chars + null terminator
				snprintf(drone_buffer, sizeof(drone_buffer), "P1%d", fn_print);
				TM1637_SetColon(1);
				TM1637_DisplayString(drone_buffer);

				sound_p1_u = 1;
			}
		}
		else {sound_p1_u = 0;}

	//sound p2 down
		static uint8_t sound_p2_d = 0;
		if(fn_index==34 && fn_max > 1500)
		{
			if (!sound_p2_d) {

				OE_dist_ind--;
				if(OE_dist_ind<0){OE_dist_ind=0;}
				OE_dist=OE_dist_val[OE_dist_ind];
				amp_setup(0);
				Creat_sine_table(sine_data,0);

				int8_t fn_print=(int)(OE_dist_ind);
				char drone_buffer[8];  // 4 chars + null terminator
				snprintf(drone_buffer, sizeof(drone_buffer), "P2%d", fn_print);
				TM1637_SetColon(1);
				TM1637_DisplayString(drone_buffer);

				sound_p2_d = 1;
			}
		}
		else {sound_p2_d = 0;}

	//sound p2 up
		static uint8_t sound_p2_u = 0;
		if(fn_index==35 && fn_max > 1500)
		{
			if (!sound_p2_u) {

				OE_dist_ind++;
				if(OE_dist_ind>10){OE_dist_ind=10;}
				OE_dist=OE_dist_val[OE_dist_ind];
				amp_setup(0);
				Creat_sine_table(sine_data,0);

				int8_t fn_print=(int)(OE_dist_ind);
				char drone_buffer[8];  // 4 chars + null terminator
				snprintf(drone_buffer, sizeof(drone_buffer), "P2%d", fn_print);
				TM1637_SetColon(1);
				TM1637_DisplayString(drone_buffer);

				sound_p2_u = 1;
			}
		}
		else {sound_p2_u = 0;}

	//sound p3 down
		static uint8_t sound_p3_d = 0;
		if(fn_index==36 && fn_max > 1500)
		{
			if (!sound_p3_d) {

				octave_mix_ind--;
				if(octave_mix_ind<0){octave_mix_ind=0;}
				octave_mix=octave_mix_val[octave_mix_ind];
				amp_setup(0);
				Creat_sine_table(sine_data,0);

				int8_t fn_print=(int)(octave_mix_ind);
				char drone_buffer[8];  // 4 chars + null terminator
				snprintf(drone_buffer, sizeof(drone_buffer), "P3%d", fn_print);
				TM1637_SetColon(1);
				TM1637_DisplayString(drone_buffer);

				sound_p3_d = 1;
			}
		}
		else {sound_p3_d = 0;}

	//sound p3 up
		static uint8_t sound_p3_u = 0;
		if(fn_index==37 && fn_max > 1500)
		{
			if (!sound_p3_u) {

				octave_mix_ind++;
				if(octave_mix_ind>10){octave_mix_ind=10;}
				octave_mix=octave_mix_val[octave_mix_ind];
				amp_setup(0);
				Creat_sine_table(sine_data,0);

				int8_t fn_print=(int)(octave_mix_ind);
				char drone_buffer[8];  // 4 chars + null terminator
				snprintf(drone_buffer, sizeof(drone_buffer), "P3%d", fn_print);
				TM1637_SetColon(1);
				TM1637_DisplayString(drone_buffer);

				sound_p3_u = 1;
			}
		}
		else {sound_p3_u = 0;}

		//snap on off
			static uint8_t snap_f = 0;
			if(fn_index==28 && fn_max > 1500)
			{
				if (!snap_f) {

						snap_flag++;
						if(snap_flag>5){snap_flag=0;}
						snap_flag_multiplier=snap_flag_val[snap_flag];

						int8_t fn_print=(int)(snap_flag);
						char drone_buffer[8];  // 4 chars + null terminator
						snprintf(drone_buffer, sizeof(drone_buffer), "AC%d", fn_print);
						TM1637_SetColon(1);
						TM1637_DisplayString(drone_buffer);

					snap_f = 1;
				}
			}
			else {snap_f = 0;}

			//reverb
			static uint8_t sound_reverb = 0;
			if(fn_index==31 && fn_max > 1500)
			{
				if (!sound_reverb) {

					reverb_user_ind++;
					if(reverb_user_ind>9){reverb_user_ind=0;}
					reverb_val1=reverb_val[reverb_user_ind];
					reverb_val2=1-reverb_val1;

					int8_t fn_print=(int)(1+reverb_user_ind);
					char drone_buffer[8];  // 4 chars + null terminator
					snprintf(drone_buffer, sizeof(drone_buffer), "rE%d", fn_print);
					TM1637_SetColon(1);
					TM1637_DisplayString(drone_buffer);

					sound_reverb = 1;
				}
			}
			else {sound_reverb = 0;}
}

int avg_wo_min_max(int16_t *data, uint8_t len) {
    if (len < 5 || len > 8) return 0;  // invalid input

    int16_t min = data[0];
    int16_t max = data[0];
    int16_t sum = data[0];  // use 32-bit int to avoid overflow

    for (uint8_t i = 1; i < len; i++) {
        if (data[i] < min) min = data[i];
        if (data[i] > max) max = data[i];
        sum += data[i];
    }

    // Remove min and max from the sum
    sum -= min;
    sum -= max;

    // Return integer average of remaining values
    return sum*0.33f;
}

/* USER CODE END 0 */

int main(void)
{

  /* MCU Configuration--------------------------------------------------------*/

  /* Reset of all peripherals, Initializes the Flash interface and the Systick. */
  HAL_Init();

  /* Configure the system clock */
  SystemClock_Config();

  /* Initialize all configured peripherals */
  MX_GPIO_Init();
  MX_DMA_Init();
  MX_ADC1_Init();
  MX_I2S2_Init();
  MX_TIM2_Init();
  MX_TIM3_Init();
  MX_TIM4_Init();
  /* USER CODE BEGIN 2 */

  TM1637_Init();
  HAL_Delay(50);
  TM1637_DisplayString("CAL-");

//	amp[1]=1;
//	for(int k=0;k<20;k++){
//		amp[k+1]=preset[1][k];
//	}

	amp_setup(0);
	Creat_sine_table(sine_data,0);
	Creat_sine_table(sine_data_tanpura,0);

  HAL_Delay(50);
  HAL_TIM_PWM_Start(&htim4, TIM_CHANNEL_2);
  HAL_TIM_PWM_Start(&htim4, TIM_CHANNEL_1);
  __HAL_TIM_SET_COMPARE(&htim4, TIM_CHANNEL_1, 0);
  // Channel 2: Delayed by 'shift' counts
  //__HAL_TIM_SET_COMPARE(&htim4, TIM_CHANNEL_2, 20);

  HAL_TIM_Base_Start(&htim3);
  HAL_TIM_PWM_Start(&htim2, TIM_CHANNEL_4);

  __HAL_TIM_SET_COMPARE(&htim2, TIM_CHANNEL_4, ADC_Offset);
  __HAL_TIM_SET_COMPARE(&htim4, TIM_CHANNEL_2, phse);

  HAL_ADC_Start_DMA(&hadc1, (uint32_t*)adc_dma_buffer, 16);

  DWT_Delay_Init();

  /* USER CODE END 2 */

  /* Infinite loop */
  /* USER CODE BEGIN WHILE */

  //HAL_I2S_Transmit_DMA(&hi2s2, (uint16_t*)sine_wave, TABLE_SIZE);
   HAL_I2S_Transmit_DMA(&hi2s2, (uint16_t*)buffer0, BUFFER_SIZE);
   mux_sel=5;
   set_mux(mux_sel);
   // calibrate data
  HAL_Delay(50);

  for(int j=0;j<10;j++)
  {
 	 for(int i = 0; i < 16; i++){
 		 set_mux(i);HAL_Delay(2);
 		 touch_cal[i]	 =touch_cal[i]+ adc_val[2];
 		 touch_cal[i+16] =touch_cal[i+16]+ adc_val[1];
 		 touch_cal[i+32] =touch_cal[i+32]+ adc_val[0];
 	 }
  }

  for(int i = 0; i < 48; i++){
 	 touch_cal[i]= round(touch_cal[i]/10);
  }

  HAL_Delay(50);
  TM1637_SetColon(0);
  TM1637_DisplayString("PLAY");

  drone_pa_freq=440.0f * powf(1.0594630f, (drone_sa_key - 48));
  drone_sa_freq=440.0f * powf(1.0594630f, (drone_pa_key - 48));

  PHASE_INC[3] =phase_v * drone_sa_freq;
  PHASE_INC[4] =phase_v * drone_pa_freq;
  reverb_val1=reverb_val[reverb_user_ind];
  reverb_val2=1-reverb_val1;

  uint32_t last_count = __HAL_TIM_GET_COUNTER(&htim3);

  while (1)
  {
	    uint32_t now = __HAL_TIM_GET_COUNTER(&htim3);

	    if ((now - last_count) >= 330)
	    {

	        last_count = now;
	        main_time_COUNTER++;

	        	// maintaining history of last 2 frames
				  touch_p2[mux_sel]    = touch_p1[mux_sel];
				  touch_p2[mux_sel+16] = touch_p1[mux_sel+16];
				  touch_p2[mux_sel+32] = touch_p1[mux_sel+32];

				  touch_p1[mux_sel]    = touch_p0[mux_sel];
				  touch_p1[mux_sel+16] = touch_p0[mux_sel+16];
				  touch_p1[mux_sel+32] = touch_p0[mux_sel+32];

	        		//make 4 measurement and take average
	        	  touch[mux_sel] =  0.25f*(adc_val[2]+adc_val[6]+adc_val[10]+adc_val[14]);
	        	  touch[mux_sel+16]=0.25f*(adc_val[1]+adc_val[5]+adc_val[9]+adc_val[13]);
	        	  touch[mux_sel+32]=0.25f*(adc_val[0]+adc_val[4]+adc_val[8]+adc_val[12]);

	        	  //removiong the offsets
	        	  touch_p0[mux_sel]    = touch[mux_sel] - touch_cal[mux_sel];
	        	  touch_p0[mux_sel+16] = touch[mux_sel+16] - touch_cal[mux_sel+16];
	        	  touch_p0[mux_sel+32] = touch[mux_sel+32] - touch_cal[mux_sel+32];

	        	  //IIR for basic filtering
				  touch_p[mux_sel] 	  += 0.8f * (touch_p0[mux_sel] 	  - touch_p[mux_sel]);
				  touch_p[mux_sel+16] += 0.8f * (touch_p0[mux_sel+16] - touch_p[mux_sel+16]);
				  touch_p[mux_sel+32] += 0.8f * (touch_p0[mux_sel+32] - touch_p[mux_sel+32]);
				  // large value are faster but prone to noise
				  // max is 1

	        	  if(mux_sel==15){
	        	        mux_dir = -1;
	        	  }
	        	  else if (mux_sel == 0)
	        	    {
	        	        mux_dir = +1;   // forward again
	        	    }

	        	  mux_sel += mux_dir;
	        	  set_mux(mux_sel);

	        	  if(mux_sel==15 || mux_sel==0){
		        	  //touch detect and tracj after comple scan
		        		  touch_estimate();
		        		  vol_knob=(float)adc_val[3];
		        		  vol_knob=vol_knob/4095;
		        		  p_volume= 0.00035*vol_knob;
			        	  set_freq();
			        	  dt=t2-t1;
	        	  }

	        	  if(main_time_COUNTER>1){
	        		  main_time_COUNTER=0;

//	        	  //function key
	        	  if (HAL_GPIO_ReadPin(GPIOB, GPIO_PIN_9) == 0) { // Button pressed
	        	      function_t++;
	        	      if (function_t == 300) {  // Held for 200ms = 500ms if loop runs every 2.5ms (or adjust if 1ms)
	        	          function_flag = 1;   // Set flag once
	        	          TM1637_SetColon(0);
	        	          TM1637_DisplayString("FUNC");
	        	      }
	        	  } else {
	        	      function_t = 0; // Reset counter on release

					  if(function_flag == 1){
						  TM1637_SetColon(0);
						  TM1637_DisplayString("PLAY");}
					  function_flag = 0;
	        	      // Do NOT reset function_flag here if you want it to stay ON
	        	  }

	        	  //run functions
	        	  if(function_flag){
	        		  fn_max = 0;
	        		  for(int i = 0; i<3;i++){
	        			  if(fn_max < fn_touch[i]){
	        				  fn_max = fn_touch[i];
	        				  fn_index = (int)fn_ind[i];
	        			  }
	        		  }

	        			function_debug = fn_index;
	        			function_set();
	        	  }

	        	  if(drone_flag==1){
					  drone_t++;
					  if(drone_t>4000){drone_t=0;}
					  if(drone_t>0 && drone_t<480){drone_sa=1;drone_pa=0;}	  if(drone_t==480){drone_sa=0;drone_pa=0;}
					  if(drone_t>800 && drone_t<1280){drone_sa=0;drone_pa=1;}if(drone_t==1280){drone_sa=0;drone_pa=0;}
					  if(drone_t>1600 && drone_t<2000){drone_sa=0;drone_pa=1;}if(drone_t==2000){drone_sa=0;drone_pa=0;}
					  if(drone_t>2400 && drone_t<3320){drone_sa=1;drone_pa=0;}if(drone_t==3320){drone_sa=0;drone_pa=0;}
					  drone_sa=drone_sa*drone_vol*2;
					  drone_pa=drone_pa*drone_vol*2;

					  vol[3]=drone_sa;
					  vol[4]=drone_pa;
	        	  }

	        	  else{
	        		  vol[3]=0;
	        		  vol[4]=0;
	        	  }
	         }
	    }

    /* USER CODE END WHILE */

  }
}

void SystemClock_Config(void)
{
  RCC_OscInitTypeDef RCC_OscInitStruct = {0};
  RCC_ClkInitTypeDef RCC_ClkInitStruct = {0};

  /** Configure the main internal regulator output voltage
  */
  __HAL_RCC_PWR_CLK_ENABLE();
  __HAL_PWR_VOLTAGESCALING_CONFIG(PWR_REGULATOR_VOLTAGE_SCALE1);

  /** Initializes the RCC Oscillators according to the specified parameters
  * in the RCC_OscInitTypeDef structure.
  */
  RCC_OscInitStruct.OscillatorType = RCC_OSCILLATORTYPE_HSE;
  RCC_OscInitStruct.HSEState = RCC_HSE_ON;
  RCC_OscInitStruct.PLL.PLLState = RCC_PLL_ON;
  RCC_OscInitStruct.PLL.PLLSource = RCC_PLLSOURCE_HSE;
  RCC_OscInitStruct.PLL.PLLM = 25;
  RCC_OscInitStruct.PLL.PLLN = 336;
  RCC_OscInitStruct.PLL.PLLP = RCC_PLLP_DIV4;
  RCC_OscInitStruct.PLL.PLLQ = 7;
  if (HAL_RCC_OscConfig(&RCC_OscInitStruct) != HAL_OK)
  {
    Error_Handler();
  }

  /** Initializes the CPU, AHB and APB buses clocks
  */
  RCC_ClkInitStruct.ClockType = RCC_CLOCKTYPE_HCLK|RCC_CLOCKTYPE_SYSCLK
                              |RCC_CLOCKTYPE_PCLK1|RCC_CLOCKTYPE_PCLK2;
  RCC_ClkInitStruct.SYSCLKSource = RCC_SYSCLKSOURCE_PLLCLK;
  RCC_ClkInitStruct.AHBCLKDivider = RCC_SYSCLK_DIV1;
  RCC_ClkInitStruct.APB1CLKDivider = RCC_HCLK_DIV2;
  RCC_ClkInitStruct.APB2CLKDivider = RCC_HCLK_DIV1;

  if (HAL_RCC_ClockConfig(&RCC_ClkInitStruct, FLASH_LATENCY_2) != HAL_OK)
  {
    Error_Handler();
  }
}

static void MX_ADC1_Init(void)
{

  ADC_ChannelConfTypeDef sConfig = {0};

  /** Configure the global features of the ADC (Clock, Resolution, Data Alignment and number of conversion)
  */
  hadc1.Instance = ADC1;
  hadc1.Init.ClockPrescaler = ADC_CLOCK_SYNC_PCLK_DIV4;
  hadc1.Init.Resolution = ADC_RESOLUTION_12B;
  hadc1.Init.ScanConvMode = ENABLE;
  hadc1.Init.ContinuousConvMode = ENABLE;
  hadc1.Init.DiscontinuousConvMode = DISABLE;
  hadc1.Init.ExternalTrigConvEdge = ADC_EXTERNALTRIGCONVEDGE_NONE;
  hadc1.Init.ExternalTrigConv = ADC_SOFTWARE_START;
  hadc1.Init.DataAlign = ADC_DATAALIGN_RIGHT;
  hadc1.Init.NbrOfConversion = 4;
  hadc1.Init.DMAContinuousRequests = ENABLE;
  hadc1.Init.EOCSelection = ADC_EOC_SINGLE_CONV;
  if (HAL_ADC_Init(&hadc1) != HAL_OK)
  {
    Error_Handler();
  }

  /** Configure for the selected ADC regular channel its corresponding rank in the sequencer and its sample time.
  */
  sConfig.Channel = ADC_CHANNEL_0;
  sConfig.Rank = 1;
  sConfig.SamplingTime = ADC_SAMPLETIME_15CYCLES;
  if (HAL_ADC_ConfigChannel(&hadc1, &sConfig) != HAL_OK)
  {
    Error_Handler();
  }

  /** Configure for the selected ADC regular channel its corresponding rank in the sequencer and its sample time.
  */
  sConfig.Channel = ADC_CHANNEL_1;
  sConfig.Rank = 2;
  if (HAL_ADC_ConfigChannel(&hadc1, &sConfig) != HAL_OK)
  {
    Error_Handler();
  }

  /** Configure for the selected ADC regular channel its corresponding rank in the sequencer and its sample time.
  */
  sConfig.Channel = ADC_CHANNEL_2;
  sConfig.Rank = 3;
  if (HAL_ADC_ConfigChannel(&hadc1, &sConfig) != HAL_OK)
  {
    Error_Handler();
  }

  /** Configure for the selected ADC regular channel its corresponding rank in the sequencer and its sample time.
  */
  sConfig.Channel = ADC_CHANNEL_5;
  sConfig.Rank = 4;
  if (HAL_ADC_ConfigChannel(&hadc1, &sConfig) != HAL_OK)
  {
    Error_Handler();
  }

}

static void MX_I2S2_Init(void)
{

  hi2s2.Instance = SPI2;
  hi2s2.Init.Mode = I2S_MODE_MASTER_TX;
  hi2s2.Init.Standard = I2S_STANDARD_MSB;
  hi2s2.Init.DataFormat = I2S_DATAFORMAT_16B;
  hi2s2.Init.MCLKOutput = I2S_MCLKOUTPUT_DISABLE;
  hi2s2.Init.AudioFreq = I2S_AUDIOFREQ_32K;
  hi2s2.Init.CPOL = I2S_CPOL_LOW;
  hi2s2.Init.ClockSource = I2S_CLOCK_PLL;
  hi2s2.Init.FullDuplexMode = I2S_FULLDUPLEXMODE_DISABLE;
  if (HAL_I2S_Init(&hi2s2) != HAL_OK)
  {
    Error_Handler();
  }

}

static void MX_TIM2_Init(void)
{

  TIM_ClockConfigTypeDef sClockSourceConfig = {0};
  TIM_MasterConfigTypeDef sMasterConfig = {0};
  TIM_OC_InitTypeDef sConfigOC = {0};

  htim2.Instance = TIM2;
  htim2.Init.Prescaler = 0;
  htim2.Init.CounterMode = TIM_COUNTERMODE_UP;
  htim2.Init.Period = 340;
  htim2.Init.ClockDivision = TIM_CLOCKDIVISION_DIV1;
  htim2.Init.AutoReloadPreload = TIM_AUTORELOAD_PRELOAD_DISABLE;
  if (HAL_TIM_Base_Init(&htim2) != HAL_OK)
  {
    Error_Handler();
  }
  sClockSourceConfig.ClockSource = TIM_CLOCKSOURCE_INTERNAL;
  if (HAL_TIM_ConfigClockSource(&htim2, &sClockSourceConfig) != HAL_OK)
  {
    Error_Handler();
  }
  if (HAL_TIM_PWM_Init(&htim2) != HAL_OK)
  {
    Error_Handler();
  }
  sMasterConfig.MasterOutputTrigger = TIM_TRGO_RESET;
  sMasterConfig.MasterSlaveMode = TIM_MASTERSLAVEMODE_DISABLE;
  if (HAL_TIMEx_MasterConfigSynchronization(&htim2, &sMasterConfig) != HAL_OK)
  {
    Error_Handler();
  }
  sConfigOC.OCMode = TIM_OCMODE_PWM1;
  sConfigOC.Pulse = 0;
  sConfigOC.OCPolarity = TIM_OCPOLARITY_HIGH;
  sConfigOC.OCFastMode = TIM_OCFAST_DISABLE;
  if (HAL_TIM_PWM_ConfigChannel(&htim2, &sConfigOC, TIM_CHANNEL_2) != HAL_OK)
  {
    Error_Handler();
  }
  sConfigOC.Pulse = 170;
  if (HAL_TIM_PWM_ConfigChannel(&htim2, &sConfigOC, TIM_CHANNEL_4) != HAL_OK)
  {
    Error_Handler();
  }
  HAL_TIM_MspPostInit(&htim2);

}

static void MX_TIM3_Init(void)
{

  TIM_ClockConfigTypeDef sClockSourceConfig = {0};
  TIM_MasterConfigTypeDef sMasterConfig = {0};

  htim3.Instance = TIM3;
  htim3.Init.Prescaler = 83;
  htim3.Init.CounterMode = TIM_COUNTERMODE_UP;
  htim3.Init.Period = 65535;
  htim3.Init.ClockDivision = TIM_CLOCKDIVISION_DIV1;
  htim3.Init.AutoReloadPreload = TIM_AUTORELOAD_PRELOAD_ENABLE;
  if (HAL_TIM_Base_Init(&htim3) != HAL_OK)
  {
    Error_Handler();
  }
  sClockSourceConfig.ClockSource = TIM_CLOCKSOURCE_INTERNAL;
  if (HAL_TIM_ConfigClockSource(&htim3, &sClockSourceConfig) != HAL_OK)
  {
    Error_Handler();
  }
  sMasterConfig.MasterOutputTrigger = TIM_TRGO_RESET;
  sMasterConfig.MasterSlaveMode = TIM_MASTERSLAVEMODE_DISABLE;
  if (HAL_TIMEx_MasterConfigSynchronization(&htim3, &sMasterConfig) != HAL_OK)
  {
    Error_Handler();
  }

}

static void MX_TIM4_Init(void)
{

  TIM_MasterConfigTypeDef sMasterConfig = {0};
  TIM_OC_InitTypeDef sConfigOC = {0};

  htim4.Instance = TIM4;
  htim4.Init.Prescaler = 0;
  htim4.Init.CounterMode = TIM_COUNTERMODE_UP;
  htim4.Init.Period = 280;
  htim4.Init.ClockDivision = TIM_CLOCKDIVISION_DIV1;
  htim4.Init.AutoReloadPreload = TIM_AUTORELOAD_PRELOAD_ENABLE;
  if (HAL_TIM_OC_Init(&htim4) != HAL_OK)
  {
    Error_Handler();
  }
  sMasterConfig.MasterOutputTrigger = TIM_TRGO_RESET;
  sMasterConfig.MasterSlaveMode = TIM_MASTERSLAVEMODE_DISABLE;
  if (HAL_TIMEx_MasterConfigSynchronization(&htim4, &sMasterConfig) != HAL_OK)
  {
    Error_Handler();
  }
  sConfigOC.OCMode = TIM_OCMODE_TOGGLE;
  sConfigOC.Pulse = 0;
  sConfigOC.OCPolarity = TIM_OCPOLARITY_LOW;
  sConfigOC.OCFastMode = TIM_OCFAST_DISABLE;
  if (HAL_TIM_OC_ConfigChannel(&htim4, &sConfigOC, TIM_CHANNEL_1) != HAL_OK)
  {
    Error_Handler();
  }
  sConfigOC.Pulse = 15;
  sConfigOC.OCPolarity = TIM_OCPOLARITY_HIGH;
  if (HAL_TIM_OC_ConfigChannel(&htim4, &sConfigOC, TIM_CHANNEL_2) != HAL_OK)
  {
    Error_Handler();
  }
  HAL_TIM_MspPostInit(&htim4);

}

static void MX_DMA_Init(void)
{

  /* DMA controller clock enable */
  __HAL_RCC_DMA1_CLK_ENABLE();
  __HAL_RCC_DMA2_CLK_ENABLE();

  /* DMA interrupt init */
  /* DMA1_Stream4_IRQn interrupt configuration */
  HAL_NVIC_SetPriority(DMA1_Stream4_IRQn, 0, 0);
  HAL_NVIC_EnableIRQ(DMA1_Stream4_IRQn);
  /* DMA2_Stream0_IRQn interrupt configuration */
  HAL_NVIC_SetPriority(DMA2_Stream0_IRQn, 0, 0);
  HAL_NVIC_EnableIRQ(DMA2_Stream0_IRQn);

}

static void MX_GPIO_Init(void)
{
  GPIO_InitTypeDef GPIO_InitStruct = {0};

  /* GPIO Ports Clock Enable */
  __HAL_RCC_GPIOC_CLK_ENABLE();
  __HAL_RCC_GPIOH_CLK_ENABLE();
  __HAL_RCC_GPIOA_CLK_ENABLE();
  __HAL_RCC_GPIOB_CLK_ENABLE();

  /*Configure GPIO pin Output Level */
  HAL_GPIO_WritePin(GPIOC, GPIO_PIN_13, GPIO_PIN_RESET);

  /*Configure GPIO pin Output Level */
  HAL_GPIO_WritePin(GPIOA, GPIO_PIN_7, GPIO_PIN_RESET);

  /*Configure GPIO pin Output Level */
  HAL_GPIO_WritePin(GPIOB, GPIO_PIN_0|GPIO_PIN_1|GPIO_PIN_2, GPIO_PIN_RESET);

  /*Configure GPIO pin : PC13 */
  GPIO_InitStruct.Pin = GPIO_PIN_13;
  GPIO_InitStruct.Mode = GPIO_MODE_OUTPUT_PP;
  GPIO_InitStruct.Pull = GPIO_NOPULL;
  GPIO_InitStruct.Speed = GPIO_SPEED_FREQ_LOW;
  HAL_GPIO_Init(GPIOC, &GPIO_InitStruct);

  /*Configure GPIO pin : PA7 */
  GPIO_InitStruct.Pin = GPIO_PIN_7;
  GPIO_InitStruct.Mode = GPIO_MODE_OUTPUT_PP;
  GPIO_InitStruct.Pull = GPIO_NOPULL;
  GPIO_InitStruct.Speed = GPIO_SPEED_FREQ_LOW;
  HAL_GPIO_Init(GPIOA, &GPIO_InitStruct);

  /*Configure GPIO pins : PB0 PB1 PB2 */
  GPIO_InitStruct.Pin = GPIO_PIN_0|GPIO_PIN_1|GPIO_PIN_2;
  GPIO_InitStruct.Mode = GPIO_MODE_OUTPUT_PP;
  GPIO_InitStruct.Pull = GPIO_NOPULL;
  GPIO_InitStruct.Speed = GPIO_SPEED_FREQ_LOW;
  HAL_GPIO_Init(GPIOB, &GPIO_InitStruct);

  /*Configure GPIO pin : PA9 */
  GPIO_InitStruct.Pin = GPIO_PIN_9;
  GPIO_InitStruct.Mode = GPIO_MODE_ANALOG;
  GPIO_InitStruct.Pull = GPIO_NOPULL;
  HAL_GPIO_Init(GPIOA, &GPIO_InitStruct);

  /*Configure GPIO pin : PB9 */
  GPIO_InitStruct.Pin = GPIO_PIN_9;
  GPIO_InitStruct.Mode = GPIO_MODE_INPUT;
  GPIO_InitStruct.Pull = GPIO_PULLUP;
  HAL_GPIO_Init(GPIOB, &GPIO_InitStruct);

}

void Error_Handler(void)
{
  __disable_irq();
  while (1)
  {
  }
}
